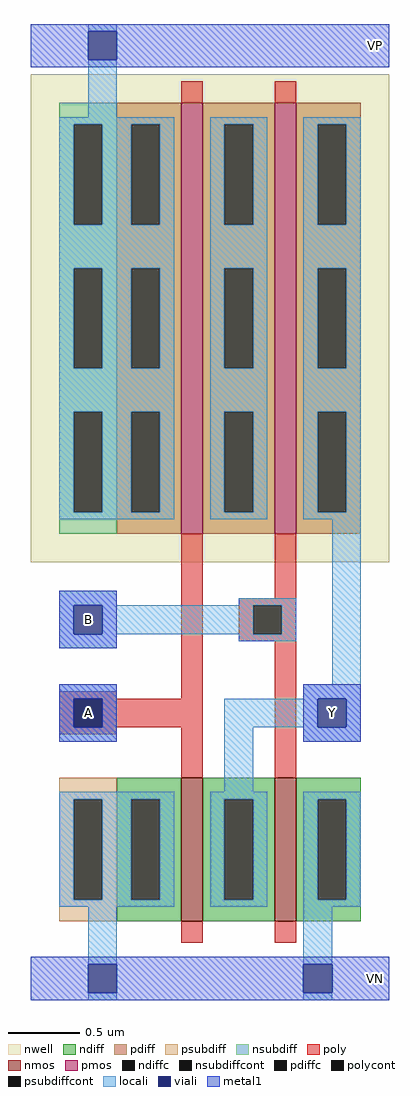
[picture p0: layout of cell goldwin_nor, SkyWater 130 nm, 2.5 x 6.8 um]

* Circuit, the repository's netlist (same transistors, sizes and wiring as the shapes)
** sch_path: /foss/designs/APIC-2025/APIC-UTS/schematic/goldwin_nor/goldwin_nor.sch
.subckt goldwin_nor A B Y VP VN
*.PININFO A:I B:I VP:I VN:I Y:O
XM1 net1 A VP VP sky130_fd_pr__pfet_01v8 L=0.15 W=3 nf=1 m=1
XM2 Y B net1 VP sky130_fd_pr__pfet_01v8 L=0.15 W=3 nf=1 m=1
XM3 Y B VN VN sky130_fd_pr__nfet_01v8 L=0.15 W=1 nf=1 m=1
XM4 Y A VN VN sky130_fd_pr__nfet_01v8 L=0.15 W=1 nf=1 m=1
.ends
.end

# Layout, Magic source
magic
tech sky130A
<< nwell >>
rect -105 250 145 590
<< nmos >>
rect 0 0 15 100
rect 65 0 80 100
<< pmos >>
rect 0 270 15 570
rect 65 270 80 570
<< ndiff >>
rect -45 85 0 100
rect -45 15 -35 85
rect -15 15 0 85
rect -45 0 0 15
rect 15 85 65 100
rect 15 15 30 85
rect 50 15 65 85
rect 15 0 65 15
rect 80 85 125 100
rect 80 15 95 85
rect 115 15 125 85
rect 80 0 125 15
<< pdiff >>
rect -45 555 0 570
rect -45 485 -35 555
rect -15 485 0 555
rect -45 455 0 485
rect -45 385 -35 455
rect -15 385 0 455
rect -45 355 0 385
rect -45 285 -35 355
rect -15 285 0 355
rect -45 270 0 285
rect 15 555 65 570
rect 15 485 30 555
rect 50 485 65 555
rect 15 455 65 485
rect 15 385 30 455
rect 50 385 65 455
rect 15 355 65 385
rect 15 285 30 355
rect 50 285 65 355
rect 15 270 65 285
rect 80 555 125 570
rect 80 485 95 555
rect 115 485 125 555
rect 80 455 125 485
rect 80 385 95 455
rect 115 385 125 455
rect 80 355 125 385
rect 80 285 95 355
rect 115 285 125 355
rect 80 270 125 285
<< ndiffc >>
rect -35 15 -15 85
rect 30 15 50 85
rect 95 15 115 85
<< pdiffc >>
rect -35 485 -15 555
rect -35 385 -15 455
rect -35 285 -15 355
rect 30 485 50 555
rect 30 385 50 455
rect 30 285 50 355
rect 95 485 115 555
rect 95 385 115 455
rect 95 285 115 355
<< psubdiff >>
rect -85 85 -45 100
rect -85 15 -75 85
rect -55 15 -45 85
rect -85 0 -45 15
<< nsubdiff >>
rect -85 555 -45 570
rect -85 485 -75 555
rect -55 485 -45 555
rect -85 455 -45 485
rect -85 385 -75 455
rect -55 385 -45 455
rect -85 355 -45 385
rect -85 285 -75 355
rect -55 285 -45 355
rect -85 270 -45 285
<< psubdiffcont >>
rect -75 15 -55 85
<< nsubdiffcont >>
rect -75 485 -55 555
rect -75 385 -55 455
rect -75 285 -55 355
<< poly >>
rect 0 570 15 585
rect 65 570 80 585
rect -85 155 -45 160
rect 0 155 15 270
rect 65 225 80 270
rect 40 220 80 225
rect 40 200 50 220
rect 70 200 80 220
rect 40 195 80 200
rect -85 135 -75 155
rect -55 135 15 155
rect -85 130 -45 135
rect 0 100 15 135
rect 65 100 80 195
rect 0 -15 15 0
rect 65 -15 80 0
<< polycont >>
rect 50 200 70 220
rect -75 135 -55 155
<< locali >>
rect -65 620 -45 625
rect -65 560 -45 600
rect -85 555 -5 560
rect -85 485 -75 555
rect -55 485 -35 555
rect -15 485 -5 555
rect -85 455 -5 485
rect -85 385 -75 455
rect -55 385 -35 455
rect -15 385 -5 455
rect -85 355 -5 385
rect -85 285 -75 355
rect -55 285 -35 355
rect -15 285 -5 355
rect -85 280 -5 285
rect 20 555 60 560
rect 20 485 30 555
rect 50 485 60 555
rect 20 455 60 485
rect 20 385 30 455
rect 50 385 60 455
rect 20 355 60 385
rect 20 285 30 355
rect 50 285 60 355
rect 20 280 60 285
rect 85 555 125 560
rect 85 485 95 555
rect 115 485 125 555
rect 85 455 125 485
rect 85 385 95 455
rect 115 385 125 455
rect 85 355 125 385
rect 85 285 95 355
rect 115 285 125 355
rect 85 280 125 285
rect -85 220 -45 230
rect 40 220 80 225
rect -85 200 -75 220
rect -55 200 50 220
rect 70 200 80 220
rect -85 190 -45 200
rect 40 195 80 200
rect 105 165 125 280
rect -85 155 -45 165
rect 85 155 125 165
rect -85 135 -75 155
rect -55 135 -45 155
rect -85 125 -45 135
rect 30 135 95 155
rect 115 135 125 155
rect 30 90 50 135
rect 85 125 125 135
rect -85 85 -5 90
rect -85 15 -75 85
rect -55 15 -35 85
rect -15 15 -5 85
rect -85 10 -5 15
rect 20 85 60 90
rect 20 15 30 85
rect 50 15 60 85
rect 20 10 60 15
rect 85 85 125 90
rect 85 15 95 85
rect 115 15 125 85
rect 85 10 125 15
rect -65 -30 -45 10
rect -65 -55 -45 -50
rect 85 -30 105 10
rect 85 -55 105 -50
<< viali >>
rect -65 600 -45 620
rect -75 200 -55 220
rect -75 135 -55 155
rect 95 135 115 155
rect -65 -50 -45 -30
rect 85 -50 105 -30
<< metal1 >>
rect -105 620 145 625
rect -105 600 -65 620
rect -45 600 145 620
rect -105 595 145 600
rect -85 220 -45 230
rect -85 200 -75 220
rect -55 200 -45 220
rect -85 190 -45 200
rect -85 155 -45 165
rect -85 135 -75 155
rect -55 135 -45 155
rect -85 125 -45 135
rect 85 155 125 165
rect 85 135 95 155
rect 115 135 125 155
rect 85 125 125 135
rect -105 -30 145 -25
rect -105 -50 -65 -30
rect -45 -50 85 -30
rect 105 -50 145 -30
rect -105 -55 145 -50
<< labels >>
flabel metal1 125 595 145 625 1 FreeSans 200 0 0 -120 VP
port 4 n
flabel metal1 125 -55 145 -25 1 FreeSans 200 0 0 -120 VN
port 5 n
flabel metal1 -85 125 -45 165 1 FreeSans 200 0 0 -120 A
port 1 n
flabel metal1 -85 190 -45 230 1 FreeSans 200 0 0 -120 B
port 2 n
flabel metal1 85 125 125 165 1 FreeSans 200 0 0 -120 Y
port 3 n
<< end >>
